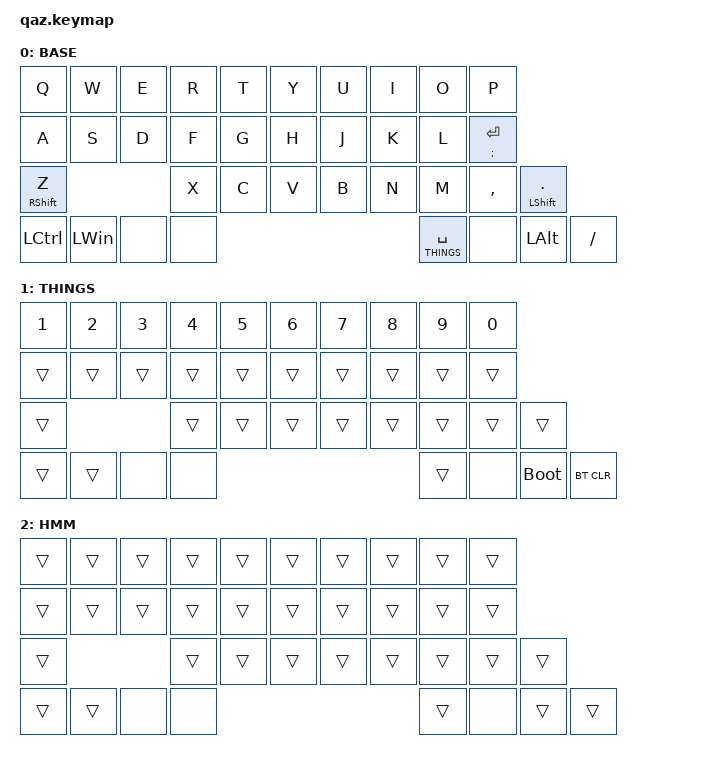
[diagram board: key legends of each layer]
/*
 * Copyright (c) 2020 The ZMK Contributors
 *
 * SPDX-License-Identifier: MIT
 */

#include <behaviors.dtsi>
#include <dt-bindings/zmk/keys.h>
#include <dt-bindings/zmk/bt.h>

#define BASE 0
#define THINGS 1
#define HMM 2


/ {
    combos {
        compatible = "zmk,combos";
        combo_esc {
            timeout-ms = <50>;
            key-positions = <0 1>;
            bindings = <&gresc>;
            layers = <BASE>;
        };
        combo_backspace {
            timeout-ms = <50>;
            key-positions = <8 9>;
            bindings = <&kp BACKSPACE>;
            layers = <BASE>;
        };
    };
};

/ {
    behaviors {
        gqt: global-quick-tap {
    compatible = "zmk,behavior-hold-tap";
    label = "GLOBAL_QUICK_TAP";
    #binding-cells = <2>;
    flavor = "tap-preferred";
    tapping-term-ms = <200>;
    quick-tap-ms = <200>;
    global-quick-tap;
    bindings = <&kp>, <&kp>;
        };
        ht_bl: balanced-hold-tap {
    compatible = "zmk,behavior-hold-tap";
    label = "BALANCED-HOLD-TAP";
    #binding-cells = <2>;
    flavor = "balanced";
    tapping-term-ms = <200>;
    quick-tap-ms = <200>;
    bindings = <&kp>, <&kp>;
        };
    };
    keymap {
        compatible = "zmk,keymap";

        BASE {
            bindings = <
    &kp Q      &kp W      &kp E       &kp R       &kp T  &kp Y  &kp U       &kp I       &kp O      &kp P
    &kp A      &kp S      &kp D       &kp F       &kp G  &kp H  &kp J       &kp K       &kp L      &ht_bl SEMI ENTER
    &mt RSHIFT Z                 &kp X       &kp C       &kp V  &kp B  &kp N       &kp M       &kp COMMA  &mt LSHIFT DOT
    &kp LEFT_CONTROL      &kp LEFT_WIN       &none          &none          &lt THINGS SPACE    &none      &kp LEFT_ALT      &kp FSLH
            >;
        };
        THINGS {
            bindings = <
    &kp N1     &kp N2     &kp N3     &kp N4     &kp N5 &kp N6 &kp N7     &kp N8     &kp N9     &kp N0
    &trans     &trans     &trans     &trans     &trans &trans &trans     &trans     &trans     &trans
    &trans                &trans     &trans     &trans &trans &trans     &trans     &trans     &trans
    &trans     &trans     &none        &none        &trans               &none      &bootloader     &bt BT_CLR
            >;
        };

    HMM {
            bindings = <
    &trans     &trans     &trans     &trans     &trans &trans &trans     &trans     &trans     &trans
    &trans     &trans     &trans     &trans     &trans &trans &trans     &trans     &trans     &trans
    &trans                &trans     &trans     &trans &trans &trans     &trans     &trans     &trans
    &trans     &trans     &none        &none        &trans               &none      &trans     &trans
            >;
        };
    };
};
